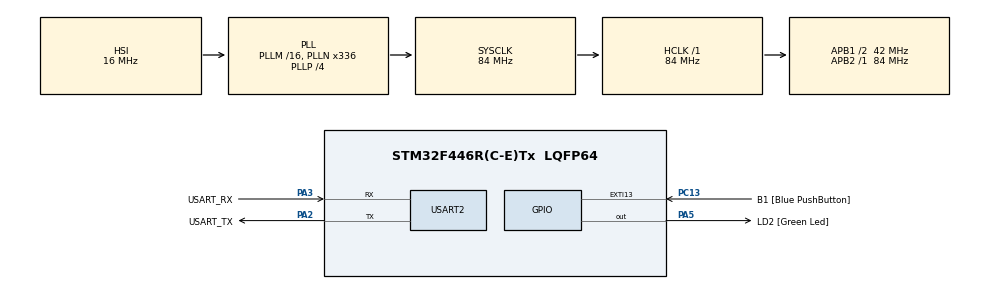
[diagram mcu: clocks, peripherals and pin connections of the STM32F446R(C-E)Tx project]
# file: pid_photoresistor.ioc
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Mcu.Family=STM32F4
Mcu.Name=STM32F446R(C-E)Tx
Mcu.Package=LQFP64
NVIC.PriorityGroup=NVIC_PRIORITYGROUP_0
PA13.GPIO_Label=TMS
PA13.Mode=Serial_Wire
PA13.Signal=SYS_JTMS-SWDIO
PA14.GPIO_Label=TCK
PA14.Mode=Serial_Wire
PA14.Signal=SYS_JTCK-SWCLK
PA2.GPIO_Label=USART_TX
PA2.Mode=Asynchronous
PA2.Signal=USART2_TX
PA3.GPIO_Label=USART_RX
PA3.Mode=Asynchronous
PA3.Signal=USART2_RX
PA5.GPIO_Label=LD2 [Green Led]
PA5.Signal=GPIO_Output
PB3.GPIO_Label=SWO
PB3.Signal=SYS_JTDO-SWO
PC13.GPIO_Label=B1 [Blue PushButton]
PC13.GPIO_ModeDefaultEXTI=GPIO_MODE_IT_FALLING
PC13.Signal=GPXTI13
PC14-OSC32_IN.Mode=LSE-External-Oscillator
PC14-OSC32_IN.Signal=RCC_OSC32_IN
PC15-OSC32_OUT.Mode=LSE-External-Oscillator
PC15-OSC32_OUT.Signal=RCC_OSC32_OUT
PH0-OSC_IN.Mode=HSE-External-Oscillator
PH0-OSC_IN.Signal=RCC_OSC_IN
PH1-OSC_OUT.Mode=HSE-External-Oscillator
PH1-OSC_OUT.Signal=RCC_OSC_OUT
ProjectManager.HeapSize=0x200
ProjectManager.StackSize=0x400
ProjectManager.TargetToolchain=STM32CubeIDE
RCC.48MHZClocksFreq_Value=84000000
RCC.AHBFreq_Value=84000000
RCC.APB1CLKDivider=RCC_HCLK_DIV2
RCC.APB1Freq_Value=42000000
RCC.APB1TimFreq_Value=84000000
RCC.APB2Freq_Value=84000000
RCC.APB2TimFreq_Value=84000000
RCC.CortexFreq_Value=84000000
RCC.FLatency-AdvancedSettings=FLASH_LATENCY_2
RCC.HCLKFreq_Value=84000000
RCC.HSE_VALUE=8000000
RCC.HSI_VALUE=16000000
RCC.PLLN=336
RCC.PLLP=RCC_PLLP_DIV4
RCC.SYSCLKFreq_VALUE=84000000
RCC.SYSCLKSource=RCC_SYSCLKSOURCE_PLLCLK
RCC.USBFreq_Value=168000000
RCC.VCOOutputFreq_Value=336000000
USART2.VirtualMode=VM_ASYNC
board=NUCLEO-F446RE

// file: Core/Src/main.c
/* USER CODE BEGIN Header */
/**
  ******************************************************************************
  * @file           : main.c
  * @brief          : Main program body
  ******************************************************************************
  * @attention
  *
  * Copyright (c) 2025 STMicroelectronics.
  * All rights reserved.
  *
  * This software is licensed under terms that can be found in the LICENSE file
  * in the root directory of this software component.
  * If no LICENSE file comes with this software, it is provided AS-IS.
  *
  ******************************************************************************
  */
/* USER CODE END Header */
#include "main.h"

/* USER CODE BEGIN Includes */
#include "pid.h"
/* USER CODE END Includes */

/* USER CODE BEGIN PM */
#define ADC_FS 3.3f
/* USER CODE END PM */

UART_HandleTypeDef huart2;

/* USER CODE BEGIN PV */
volatile uint8_t data_read = 0;
volatile uint8_t time_elapsed = 0;
volatile uint16_t voltage = 0;
volatile float voltage_f = 0;
float reference = 2.9f;
float uk;
/* USER CODE END PV */

void SystemClock_Config(void);
static void MX_GPIO_Init(void);
static void MX_USART2_UART_Init(void);

/* USER CODE BEGIN 0 */
void TIM6_DAC_IRQHandler() {
	if((TIM6->SR >> TIM_SR_UIF_Pos) & 0x01) {
		time_elapsed = 1;
		TIM6->SR &= ~(1 << TIM_SR_UIF_Pos);
	}
}

void TIM6_basic_setup() {

	RCC->APB1ENR |= (1 << RCC_APB1ENR_TIM6EN_Pos); 		// Clock to TIM6

	TIM6->CR1 &= ~(1 << TIM_CR1_UDIS_Pos); 		// Update event enable
	TIM6->CR1 |= (1 << TIM_CR1_URS_Pos);		// Update event generated only by overflow/underflow
	TIM6->PSC = 840 - 1; 						// CNT incremented every 10 microsecond
	TIM6->ARR = 1000 - 1;						// Update event every 10000 microsecond = 10 millisecond

	TIM6->DIER |= (1 << TIM_DIER_UIE_Pos); 		// Trigger an interrupt every update event
	NVIC_EnableIRQ(TIM6_DAC_IRQn);				// Enable interrupt for TIM6
	NVIC_SetPriority(TIM6_DAC_IRQn, 0); 		// Set Priority
	TIM6->CR1 |= TIM_CR1_CEN;  					// start the timer
}

void ADC_IRQHandler() {
	if(((ADC1->SR >> ADC_SR_EOC_Pos) & 0x01)) {
		voltage = (uint16_t)ADC1->DR;
		voltage_f = (voltage*ADC_FS)*(1.0f/4096.0f);
		data_read = 1;
	}
}

void ADC_Init() {
	/* GPIO Configuration */
	// Provide clock to PORTA (PA_0 and PA_1 are associated to CH0 and CH1)
	RCC->AHB1ENR |= (1 << RCC_AHB1ENR_GPIOAEN_Pos); 	// Clock to GPIOA

	// Set both GPIOs in Analog mode
	GPIOA->MODER |= (3 << GPIO_MODER_MODE0_Pos);		// Set PA0 in Analog mode

	/* ADC Configuration */
	// Provide clock to ADC1
	RCC->APB2ENR |= (1 << RCC_APB2ENR_ADC1EN_Pos); 	// Clock to ADC1

	ADC1->CR2 	|= (0x01 << ADC_CR2_ADON_Pos);			// (ADON) Power On ADC1
	ADC1->CR2 	&= ~(0x01 << ADC_CR2_CONT_Pos);			// (CONT) Single Conversion Mode
	ADC1->SQR3 	&= ~(0x1F << 0);						// Clear before Selection of Channel 0
	ADC1->SQR3 	|= (0x00 << 0);							// Selection of Channel 0
	ADC1->CR1 	&= ~(0x1 << ADC_CR1_SCAN_Pos); 			// (SCAN) Disable Scan Mode
	ADC1->CR1 	&= ~(0x1 << ADC_CR1_DISCEN_Pos); 		// (DISCEN) Disable Discontinuous Mode
	ADC1->CR1 	&= ~(0x07 << ADC_CR1_DISCNUM_Pos);		// (DISCNUM) Clear Number of Discontinuous Channels
	ADC1->CR2 	&= ~(0x1 << ADC_CR2_ALIGN_Pos); 		// (ALIGN) Align right
	ADC1->SMPR2 &= ~(0x0F << ADC_SMPR2_SMP0_Pos);		// Set 3 Cycles per Samples
	ADC1->CR1 	&= ~(0x03 << ADC_CR1_RES_Pos);			// 12 Bit resolution
	ADC1->CR2 	|= (0x01 << ADC_CR2_EOCS_Pos); 			// (EOCS) Notify when each conversion of a sequence is complete
	ADC1 ->CR1 	|= (0x01 << ADC_CR1_EOCIE_Pos); 		// (EOCIE) Generate an interrupt every time EOC is set

	NVIC_EnableIRQ(ADC_IRQn); 		// Check file stm32f446xx.h for the name definition
	NVIC_SetPriority(ADC_IRQn, 0); 	// Priority
	ADC1->CR2 |= (0x1 << ADC_CR2_SWSTART_Pos);
}

void TIM3_PWM_setup() {
	/* GPIO SetUp (PA6 -> TIM3_CH1) */
	RCC->AHB1ENR |= (1 << RCC_AHB1ENR_GPIOAEN_Pos);		// Enable GPIO6
	GPIOA->MODER |= (2 << 12); 							// Alternate function mode
	GPIOA->AFR[0] = (2 << 24); 							// Alternate function n2 for PA6 (TIM3 CH1)
	GPIOA->OSPEEDR 	|= (3 << 12);  						// High Speed for PIN PA6

	/* TIM3 SetUp */
	RCC->APB1ENR |= (1 << RCC_APB1ENR_TIM3EN_Pos); 		// Clock to TIM3

	/* CR1 Configuration */
	TIM3->CR1 &= ~(1 << TIM_CR1_UDIS_Pos); 		// Update event enabled
	TIM3->CR1 &= ~(1 << TIM_CR1_URS_Pos);		// Update event generated by any source
	TIM3->CR1 &= ~(1 << TIM_CR1_DIR_Pos); 		// Upcounting direction
	TIM3->CR1 &= ~(0x03 << TIM_CR1_CMS_Pos); 	// (00) Edge aligned mode
	TIM3->CR1 |= (1 << TIM_CR1_ARPE_Pos); 		// Auto reload preload enabled

	TIM3->CCMR1 &= ~(0x03 << TIM_CCMR1_CC1S_Pos); 	// TIM3_CH1 configured as output
	TIM3->CCMR1 |= (1 << TIM_CCMR1_OC1PE_Pos); 		// Preload CCR1 register as well
	TIM3->CCMR1 |= (0x6 << TIM_CCMR1_OC1M_Pos); 	// PWM Mode 1

	TIM3->CCER |= (1 << TIM_CCER_CC1E_Pos); 				// Enable output channel 1
	TIM3->CCER |= (1 << TIM_CCER_CC1P_Pos); 				// Active low

	TIM3->PSC = 84 - 1; 						// CNT incremented every microsecond
	TIM3->ARR = 1000 - 1; 						// Update event every millisecond (1kHz PWM)
	TIM3->CCR1 = 500 - 1;						// Starting duty cycle 50%

	TIM3->EGR |= (1 << TIM_EGR_UG_Pos); 		// Fire an update event to update shadow registers
	TIM3->CR1 |= TIM_CR1_CEN;  					// start PWM on TIM3
}

void read_sensor_data(float * data) {
	ADC1->CR2 |= (0x1 << ADC_CR2_SWSTART_Pos);
	while(!data_read);
	data_read = 0;
	*data = voltage_f;
}

/* USER CODE END 0 */

int main(void)
{

  /* MCU Configuration--------------------------------------------------------*/

  /* Reset of all peripherals, Initializes the Flash interface and the Systick. */
  HAL_Init();

  /* Configure the system clock */
  SystemClock_Config();

  /* Initialize all configured peripherals */
  MX_GPIO_Init();
  MX_USART2_UART_Init();
  /* USER CODE BEGIN 2 */
  TIM6_basic_setup();
  ADC_Init();          // ← configure ADC1 on PA0
  TIM3_PWM_setup();    // ← configure PA6 / TIM3_CH1 for PWM

  /* USER CODE END 2 */

  /* Infinite loop */
  /* USER CODE BEGIN WHILE */
  // sampling time:
  float tc = 0.01f;    // 10ms

  // PID tuning “ballpark”:
  float kp = 0.8f;    // moderate proportional
  float ti = 1.0f;    // 1s integral time → removes steady-state error in a few seconds
  float td = 0.001f;    // 1ms derivative time → gentle slope damping
  float N  = 10.0f;   // filter pole → rolls off derivative above ~1/(Td/N)=100kHz
  float tw = ti;      // back-calc time constant ≃ Ti (you can also try Ti/10)
  float u_min = 0.0f;  // PWM min
  float u_max = 1.0f;  // PWM max (assuming you scale 0…1 → 0…100% duty)

  Pid_s *my_pid = pid_create(tc,
		  	  	  	  	  	kp,
							ti,
							td,
							N,
							u_min,
							u_max,
							tw);

  uint32_t duty = 0;
  /* Debug */
  GPIOA->MODER |= (0b01 << 2); // PA1 as debug GPIO
  float data = 0;
  while (1)
  {
    /* USER CODE END WHILE */

    /* USER CODE BEGIN 3 */
	 if(time_elapsed) {
		 GPIOA->ODR ^= (0b1 << 1); 						// Debug
		 time_elapsed = 0;
		 read_sensor_data(&data); 						// read sensor
		 uk = pid_calculate(my_pid, data, reference);	// compute PID action

		 duty = (uint32_t)(uk*(TIM3->ARR));				// map PID to duty
		 TIM3->CCR1 = (TIM3->ARR - duty);				// Apply PID action
	 }
  }
  /* USER CODE END 3 */
}

void SystemClock_Config(void)
{
  RCC_OscInitTypeDef RCC_OscInitStruct = {0};
  RCC_ClkInitTypeDef RCC_ClkInitStruct = {0};

  /** Configure the main internal regulator output voltage
  */
  __HAL_RCC_PWR_CLK_ENABLE();
  __HAL_PWR_VOLTAGESCALING_CONFIG(PWR_REGULATOR_VOLTAGE_SCALE3);

  /** Initializes the RCC Oscillators according to the specified parameters
  * in the RCC_OscInitTypeDef structure.
  */
  RCC_OscInitStruct.OscillatorType = RCC_OSCILLATORTYPE_HSI;
  RCC_OscInitStruct.HSIState = RCC_HSI_ON;
  RCC_OscInitStruct.HSICalibrationValue = RCC_HSICALIBRATION_DEFAULT;
  RCC_OscInitStruct.PLL.PLLState = RCC_PLL_ON;
  RCC_OscInitStruct.PLL.PLLSource = RCC_PLLSOURCE_HSI;
  RCC_OscInitStruct.PLL.PLLM = 16;
  RCC_OscInitStruct.PLL.PLLN = 336;
  RCC_OscInitStruct.PLL.PLLP = RCC_PLLP_DIV4;
  RCC_OscInitStruct.PLL.PLLQ = 2;
  RCC_OscInitStruct.PLL.PLLR = 2;
  if (HAL_RCC_OscConfig(&RCC_OscInitStruct) != HAL_OK)
  {
    Error_Handler();
  }

  /** Initializes the CPU, AHB and APB buses clocks
  */
  RCC_ClkInitStruct.ClockType = RCC_CLOCKTYPE_HCLK|RCC_CLOCKTYPE_SYSCLK
                              |RCC_CLOCKTYPE_PCLK1|RCC_CLOCKTYPE_PCLK2;
  RCC_ClkInitStruct.SYSCLKSource = RCC_SYSCLKSOURCE_PLLCLK;
  RCC_ClkInitStruct.AHBCLKDivider = RCC_SYSCLK_DIV1;
  RCC_ClkInitStruct.APB1CLKDivider = RCC_HCLK_DIV2;
  RCC_ClkInitStruct.APB2CLKDivider = RCC_HCLK_DIV1;

  if (HAL_RCC_ClockConfig(&RCC_ClkInitStruct, FLASH_LATENCY_2) != HAL_OK)
  {
    Error_Handler();
  }
}

static void MX_USART2_UART_Init(void)
{

  huart2.Instance = USART2;
  huart2.Init.BaudRate = 115200;
  huart2.Init.WordLength = UART_WORDLENGTH_8B;
  huart2.Init.StopBits = UART_STOPBITS_1;
  huart2.Init.Parity = UART_PARITY_NONE;
  huart2.Init.Mode = UART_MODE_TX_RX;
  huart2.Init.HwFlowCtl = UART_HWCONTROL_NONE;
  huart2.Init.OverSampling = UART_OVERSAMPLING_16;
  if (HAL_UART_Init(&huart2) != HAL_OK)
  {
    Error_Handler();
  }

}

static void MX_GPIO_Init(void)
{
  GPIO_InitTypeDef GPIO_InitStruct = {0};

  /* GPIO Ports Clock Enable */
  __HAL_RCC_GPIOC_CLK_ENABLE();
  __HAL_RCC_GPIOH_CLK_ENABLE();
  __HAL_RCC_GPIOA_CLK_ENABLE();
  __HAL_RCC_GPIOB_CLK_ENABLE();

  /*Configure GPIO pin Output Level */
  HAL_GPIO_WritePin(LD2_GPIO_Port, LD2_Pin, GPIO_PIN_RESET);

  /*Configure GPIO pin : B1_Pin */
  GPIO_InitStruct.Pin = B1_Pin;
  GPIO_InitStruct.Mode = GPIO_MODE_IT_FALLING;
  GPIO_InitStruct.Pull = GPIO_NOPULL;
  HAL_GPIO_Init(B1_GPIO_Port, &GPIO_InitStruct);

  /*Configure GPIO pin : LD2_Pin */
  GPIO_InitStruct.Pin = LD2_Pin;
  GPIO_InitStruct.Mode = GPIO_MODE_OUTPUT_PP;
  GPIO_InitStruct.Pull = GPIO_NOPULL;
  GPIO_InitStruct.Speed = GPIO_SPEED_FREQ_LOW;
  HAL_GPIO_Init(LD2_GPIO_Port, &GPIO_InitStruct);

}

void Error_Handler(void)
{
  __disable_irq();
  while (1)
  {
  }
}
